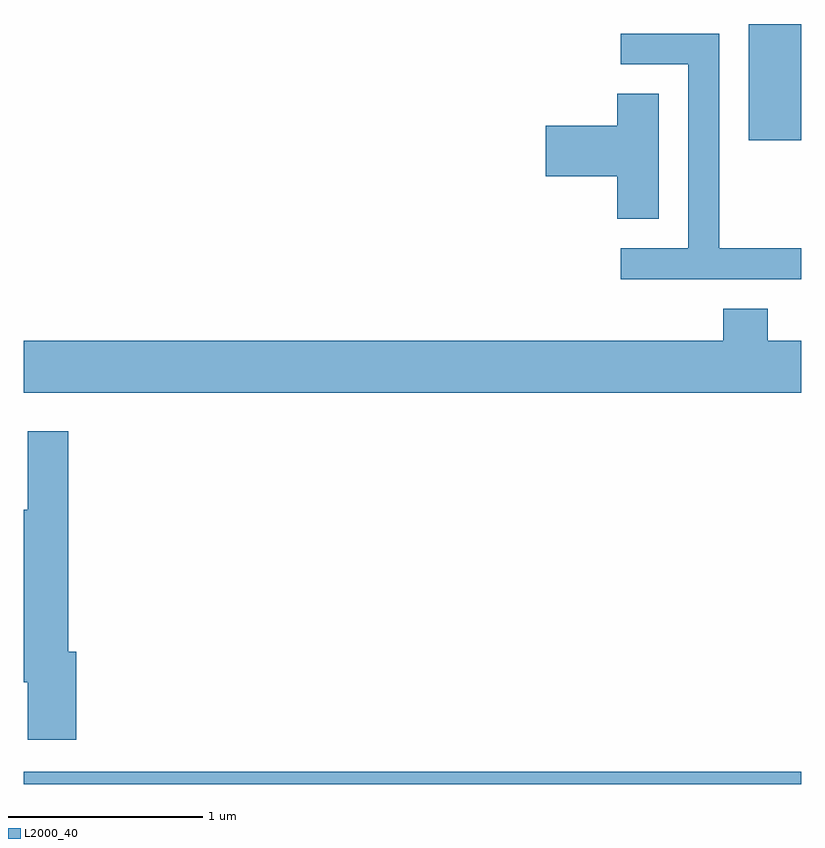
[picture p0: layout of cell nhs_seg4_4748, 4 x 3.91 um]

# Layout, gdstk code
import gdstk
lib = gdstk.Library(unit=1e-6, precision=1e-09)
def R(c, l, rs):  # rectangles x0, y0, x1, y1
    for r in rs: c.add(gdstk.rectangle(r[:2], r[2:], *l))
def P(c, l, *ps):  # polygons
    for p in ps: c.add(gdstk.Polygon(p, *l))
L2000_40 = (2000, 40)

nhs_seg4_4748 = lib.new_cell('nhs_seg4_4748')
R(nhs_seg4_4748, L2000_40, [(323.611,1365.982,327.611,1366.044), (327.341,1369.296,327.611,1369.894)])
P(nhs_seg4_4748, L2000_40, [(327.611,1368.739),(327.189,1368.739),(327.189,1369.844),(326.683,1369.844),(326.683,1369.686),(327.031,1369.686),(327.031,1368.739),(326.683,1368.739),(326.683,1368.581),(327.611,1368.581)],
  [(326.879,1369.534),(326.666,1369.534),(326.666,1369.369),(326.296,1369.369),(326.296,1369.111),(326.666,1369.111),(326.666,1368.891),(326.879,1368.891)],
  [(327.611,1368.264),(327.439,1368.264),(327.439,1368.429),(327.211,1368.429),(327.211,1368.264),(323.611,1368.264),(323.611,1367.996),(327.611,1367.996)],
  [(323.879,1366.664),(323.839,1366.664),(323.839,1367.799),(323.631,1367.799),(323.631,1367.394),(323.611,1367.394),(323.611,1366.506),(323.631,1366.506),(323.631,1366.211),(323.879,1366.211)])

lib.write_gds('nhs_seg4_4748.gds')
